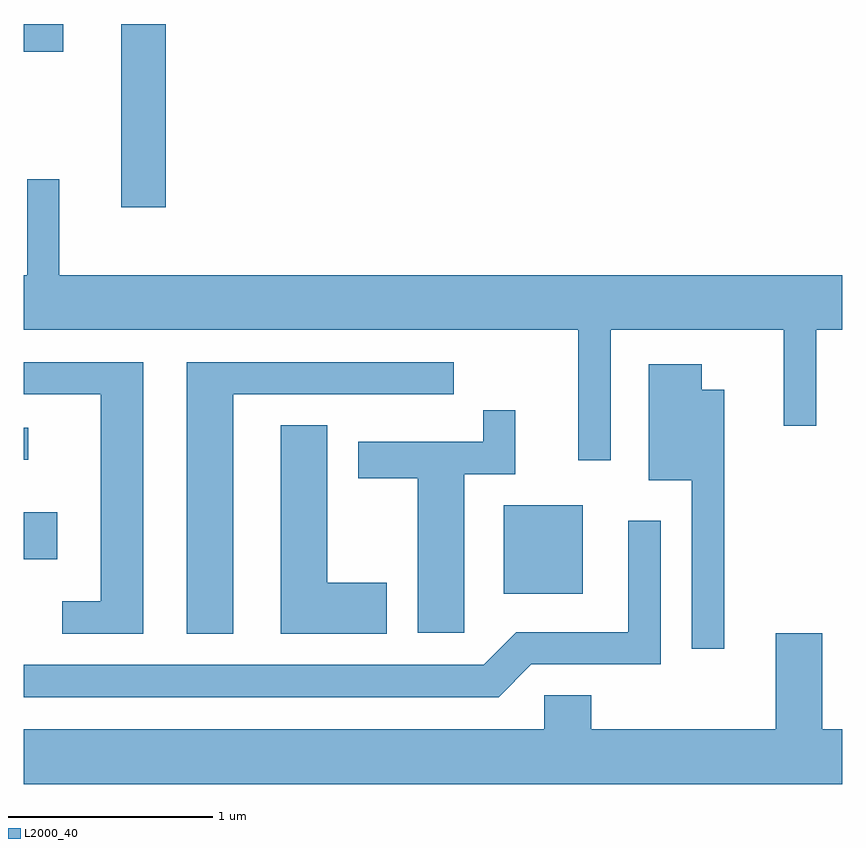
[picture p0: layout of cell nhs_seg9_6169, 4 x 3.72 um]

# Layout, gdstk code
import gdstk
lib = gdstk.Library(unit=1e-6, precision=1e-09)
def R(c, l, rs):  # rectangles x0, y0, x1, y1
    for r in rs: c.add(gdstk.rectangle(r[:2], r[2:], *l))
def P(c, l, *ps):  # polygons
    for p in ps: c.add(gdstk.Polygon(p, *l))
L2000_40 = (2000, 40)

nhs_seg9_6169 = lib.new_cell('nhs_seg9_6169')
R(nhs_seg9_6169, L2000_40, [(369.956,1981.646,370.344,1982.079), (367.611,1981.816,367.774,1982.044), (367.611,1982.301,367.633,1982.459), (368.086,1983.536,368.304,1984.432), (367.611,1984.296,367.804,1984.432)])
P(nhs_seg9_6169, L2000_40, [(367.784,1983.673),(367.626,1983.673),(367.626,1983.204),(367.611,1983.204),(367.611,1982.936),(370.321,1982.936),(370.321,1982.298),(370.479,1982.298),(370.479,1982.936),(371.326,1982.936),(371.326,1982.468),(371.484,1982.468),(371.484,1982.936),(371.611,1982.936),(371.611,1983.204),(367.784,1983.204)],
  [(368.194,1982.779),(367.611,1982.779),(367.611,1982.621),(367.986,1982.621),(367.986,1981.609),(367.798,1981.609),(367.798,1981.451),(368.194,1981.451)],
  [(368.634,1982.621),(369.713,1982.621),(369.713,1982.779),(368.406,1982.779),(368.406,1981.451),(368.634,1981.451)],
  [(371.034,1982.644),(370.924,1982.644),(370.924,1982.769),(370.666,1982.769),(370.666,1982.201),(370.876,1982.201),(370.876,1981.378),(371.034,1981.378)],
  [(369.764,1982.231),(370.014,1982.231),(370.014,1982.543),(369.856,1982.543),(369.856,1982.389),(369.246,1982.389),(369.246,1982.211),(369.536,1982.211),(369.536,1981.456),(369.764,1981.456)],
  [(369.384,1981.699),(369.094,1981.699),(369.094,1982.469),(368.866,1982.469),(368.866,1981.451),(369.384,1981.451)],
  [(370.092,1981.301),(370.724,1981.301),(370.724,1982.003),(370.566,1982.003),(370.566,1981.459),(370.019,1981.459),(369.859,1981.299),(367.611,1981.299),(367.611,1981.141),(369.932,1981.141)],
  [(371.611,1980.984),(371.514,1980.984),(371.514,1981.454),(371.286,1981.454),(371.286,1980.984),(370.384,1980.984),(370.384,1981.149),(370.156,1981.149),(370.156,1980.984),(367.611,1980.984),(367.611,1980.716),(371.611,1980.716)])

lib.write_gds('nhs_seg9_6169.gds')
